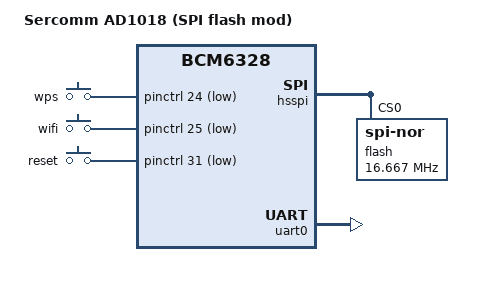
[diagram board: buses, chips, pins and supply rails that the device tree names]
/dts-v1/;

#include "bcm6328.dtsi"

#include <dt-bindings/input/input.h>

/ {
	model = "Sercomm AD1018 (SPI flash mod)";
	compatible = "sercomm,ad1018-nor", "brcm,bcm6328";

	aliases {
		led-boot = &led_power_green;
		led-failsafe = &led_power_green;
		led-running = &led_power_green;
		led-upgrade = &led_power_green;
	};

	chosen {
		bootargs = "rootfstype=squashfs,jffs2 noinitrd console=ttyS0,115200";
		stdout-path = "serial0:115200n8";
	};

	keys {
		compatible = "gpio-keys-polled";
		#address-cells = <1>;
		#size-cells = <0>;
		poll-interval = <20>;

		wps {
			label = "wps";
			gpios = <&pinctrl 24 1>;
			linux,code = <KEY_WPS_BUTTON>;
			debounce-interval = <60>;
		};

		wifi {
			label = "wifi";
			gpios = <&pinctrl 25 1>;
			linux,code = <KEY_WLAN>;
			debounce-interval = <60>;
		};

		reset {
			label = "reset";
			gpios = <&pinctrl 31 1>;
			linux,code = <KEY_RESTART>;
			debounce-interval = <60>;
		};
	};
};

&pinctrl {
	pinctrl_leds: leds {
		function = "led";
		pins = "gpio0", "gpio1";
	};
};

&leds {
	status = "okay";

	pinctrl-names = "default";
	pinctrl-0 = <&pinctrl_leds &pinctrl_serial_led
		     &pinctrl_ephy0_spd_led &pinctrl_ephy1_act_led
		     &pinctrl_ephy2_act_led &pinctrl_ephy3_act_led>;

	brcm,serial-leds;
	brcm,serial-shift-inv;
	brcm,serial-dat-low;

	inet_red@0 {
		reg = <0>;
		active-low;
		label = "AD1018:red:internet";
	};

	inet_green@1 {
		reg = <1>;
		active-low;
		label = "AD1018:green:internet";
	};

	led_power_green: power_green@8 {
		reg = <8>;
		active-low;
		label = "AD1018:green:power";
		default-state = "on";
	};

	adsl_green@10 {
		reg = <10>;
		active-low;
		label = "AD1018:green:adsl";
	};

	adsl_red@11 {
		reg = <11>;
		active-low;
		label = "AD1018:red:adsl";
	};

	phone_green@12 {
		reg = <12>;
		active-low;
		label = "AD1018:green:phone";
	};

	wps_green@13 {
		reg = <13>;
		active-low;
		label = "AD1018:green:wps";
	};

	wifi_green@14 {
		reg = <14>;
		active-low;
		label = "AD1018:green:wifi";
	};

	usb_green@15 {
		reg = <15>;
		active-low;
		label = "AD1018:green:usb";
	};

	ephy0_spd@17 {
		reg = <17>;
		brcm,hardware-controlled;
	};
};

&hsspi {
	status = "okay";

	flash@0 {
		compatible = "jedec,spi-nor";
		spi-max-frequency = <16666667>;
		spi-tx-bus-width = <2>;
		spi-rx-bus-width = <2>;
		reg = <0>;

		#address-cells = <1>;
		#size-cells = <1>;

		partitions {
			compatible = "brcm,bcm963xx-cfe-nor-partitions";
		};
	};
};

&uart0 {
	status = "okay";
};
